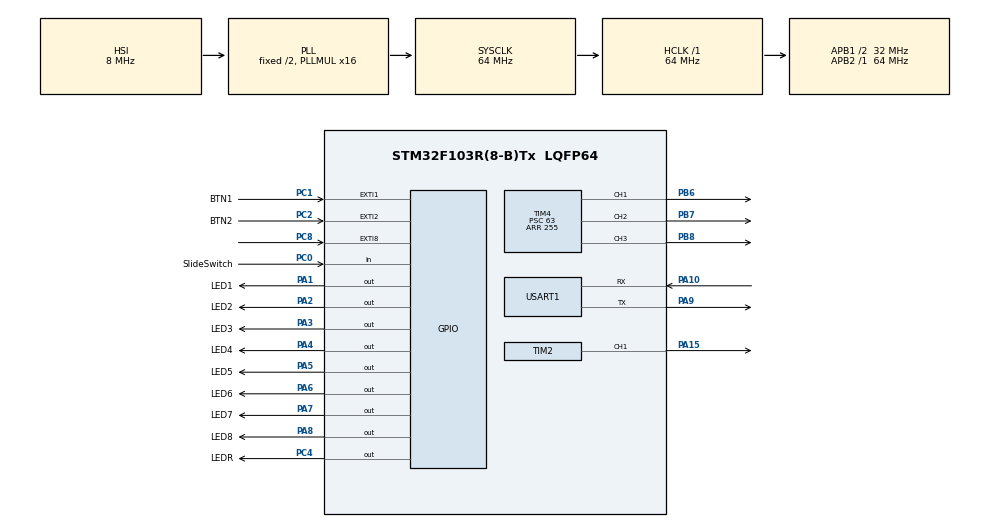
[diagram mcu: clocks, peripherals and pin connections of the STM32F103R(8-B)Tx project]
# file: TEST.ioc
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Mcu.Family=STM32F1
Mcu.Name=STM32F103R(8-B)Tx
Mcu.Package=LQFP64
NVIC.EXTI1_IRQn=true\:0\:0\:false\:false\:true\:true\:true\:true
NVIC.EXTI2_IRQn=true\:0\:0\:false\:false\:true\:true\:true\:true
NVIC.PriorityGroup=NVIC_PRIORITYGROUP_4
PA1.GPIO_Label=LED1
PA1.GPIO_ModeDefaultOutputPP=GPIO_MODE_OUTPUT_PP
PA1.GPIO_PuPd=GPIO_NOPULL
PA1.PinState=GPIO_PIN_SET
PA1.Signal=GPIO_Output
PA10.Mode=Asynchronous
PA10.Signal=USART1_RX
PA13.Mode=Trace_Asynchronous_SW
PA13.Signal=SYS_JTMS-SWDIO
PA14.Mode=Trace_Asynchronous_SW
PA14.Signal=SYS_JTCK-SWCLK
PA15.Signal=S_TIM2_CH1_ETR
PA2.GPIO_Label=LED2
PA2.PinState=GPIO_PIN_SET
PA2.Signal=GPIO_Output
PA3.GPIO_Label=LED3
PA3.PinState=GPIO_PIN_SET
PA3.Signal=GPIO_Output
PA4.GPIO_Label=LED4
PA4.PinState=GPIO_PIN_SET
PA4.Signal=GPIO_Output
PA5.GPIO_Label=LED5
PA5.PinState=GPIO_PIN_SET
PA5.Signal=GPIO_Output
PA6.GPIO_Label=LED6
PA6.PinState=GPIO_PIN_SET
PA6.Signal=GPIO_Output
PA7.GPIO_Label=LED7
PA7.PinState=GPIO_PIN_SET
PA7.Signal=GPIO_Output
PA8.GPIO_Label=LED8
PA8.PinState=GPIO_PIN_SET
PA8.Signal=GPIO_Output
PA9.Mode=Asynchronous
PA9.Signal=USART1_TX
PB3.Mode=Trace_Asynchronous_SW
PB3.Signal=SYS_JTDO-TRACESWO
PB6.Signal=S_TIM4_CH1
PB7.Signal=S_TIM4_CH2
PB8.Signal=S_TIM4_CH3
PC0.GPIO_Label=SlideSwitch
PC0.Signal=GPIO_Input
PC1.GPIO_Label=BTN1
PC1.GPIO_ModeDefaultEXTI=GPIO_MODE_IT_RISING
PC1.GPIO_PuPd=GPIO_PULLUP
PC1.Signal=GPXTI1
PC2.GPIO_Label=BTN2
PC2.GPIO_PuPd=GPIO_PULLUP
PC2.Signal=GPXTI2
PC4.GPIO_Label=LEDR
PC4.Signal=GPIO_Output
PC8.Signal=GPXTI8
ProjectManager.HeapSize=0x200
ProjectManager.StackSize=0x400
ProjectManager.TargetToolchain=STM32CubeIDE
RCC.AHBFreq_Value=64000000
RCC.APB1CLKDivider=RCC_HCLK_DIV2
RCC.APB1Freq_Value=32000000
RCC.APB1TimFreq_Value=64000000
RCC.APB2Freq_Value=64000000
RCC.APB2TimFreq_Value=64000000
RCC.HCLKFreq_Value=64000000
RCC.PLLMUL=RCC_PLL_MUL16
RCC.SYSCLKFreq_VALUE=64000000
RCC.SYSCLKSource=RCC_SYSCLKSOURCE_PLLCLK
RCC.USBFreq_Value=64000000
SH.S_TIM2_CH1_ETR.0=TIM2_CH1,PWM Generation1 CH1
SH.S_TIM4_CH1.0=TIM4_CH1,PWM Generation1 CH1
SH.S_TIM4_CH2.0=TIM4_CH2,PWM Generation2 CH2
SH.S_TIM4_CH3.0=TIM4_CH3,PWM Generation3 CH3
TIM2.Channel-PWM\ Generation1\ CH1=TIM_CHANNEL_1
TIM2.Period=249
TIM2.Prescaler=63
TIM4.Channel-PWM\ Generation1\ CH1=TIM_CHANNEL_1
TIM4.Channel-PWM\ Generation2\ CH2=TIM_CHANNEL_2
TIM4.Channel-PWM\ Generation3\ CH3=TIM_CHANNEL_3
TIM4.Period=255
TIM4.Prescaler=63
USART1.VirtualMode=VM_ASYNC
board=custom

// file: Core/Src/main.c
/* USER CODE BEGIN Header */
/**
  ******************************************************************************
  * @file           : main.c
  * @brief          : Main program body
  ******************************************************************************
  * @attention
  *
  * Copyright (c) 2025 STMicroelectronics.
  * All rights reserved.
  *
  * This software is licensed under terms that can be found in the LICENSE file
  * in the root directory of this software component.
  * If no LICENSE file comes with this software, it is provided AS-IS.
  *
  ******************************************************************************
  */
/* USER CODE END Header */
#include "main.h"

/* USER CODE BEGIN Includes */
#include <stdio.h>
#include <stdbool.h>

/* USER CODE END Includes */

TIM_HandleTypeDef htim2;
TIM_HandleTypeDef htim4;

UART_HandleTypeDef huart1;

void SystemClock_Config(void);
static void MX_GPIO_Init(void);
static void MX_USART1_UART_Init(void);
static void MX_TIM2_Init(void);
static void MX_TIM4_Init(void);

/* USER CODE BEGIN 0 */

uint8_t Ledstatus;
//----------------------------------------------------------------------
// Send printf to uart1
int _write(int fd, char* ptr, int len) {
  HAL_StatusTypeDef hstatus;

  if (fd == 1 || fd == 2) {
    hstatus = HAL_UART_Transmit(&huart1, (uint8_t *) ptr, len, HAL_MAX_DELAY);
    if (hstatus == HAL_OK)
      return len;
    else
      return -1;
  }
  return -1;
}
//----------------------------------------------------------------------
GPIO_TypeDef* ports[] = {LED1_GPIO_Port, LED2_GPIO_Port, LED3_GPIO_Port, LED4_GPIO_Port,
                           LED5_GPIO_Port, LED6_GPIO_Port, LED7_GPIO_Port, LED8_GPIO_Port};
uint16_t pins[] = {LED1_Pin, LED2_Pin, LED3_Pin, LED4_Pin,
                     LED5_Pin, LED6_Pin, LED7_Pin, LED8_Pin};
//----------------------------------------------------------------------
uint8_t Ledstatus;
void prinLedStatus()
{

  for (int i = 0; i < 8; i++)
  {
	if (Ledstatus & (1 << i))
	{
		HAL_GPIO_WritePin(ports[i], pins[i], GPIO_PIN_SET);
	}else
	{
		HAL_GPIO_WritePin(ports[i], pins[i], GPIO_PIN_RESET);
	}
  }

}
//-----------------------------------------------------------------------------
void HandleButtons(uint16_t GPIO_Pin)
{
    if (Ledstatus == 0)
    {
        Ledstatus = 1;
    }
    if (GPIO_Pin == BTN1_Pin)
    {
        Ledstatus <<= 1;
        if (Ledstatus == 0) Ledstatus = 1;
    }
    else if (GPIO_Pin == BTN2_Pin)
    {
        Ledstatus >>= 1;
        if (Ledstatus == 0) Ledstatus = 0x80;
    }
}

//--------------------------------------------------------------------------
void HAL_GPIO_EXTI_Callback(uint16_t PGIO_Pin)
{
	HandleButtons(PGIO_Pin);
}
//--------------------------------------------------------------------------

void handlSlideSwitch()
{
	GPIO_PinState btnState = HAL_GPIO_ReadPin(SlideSwitch_GPIO_Port, SlideSwitch_Pin);
	if (btnState == GPIO_PIN_SET)
	{
		HAL_GPIO_WritePin(LEDR_GPIO_Port,LEDR_Pin, GPIO_PIN_SET);
	}
	else
	{
		HAL_GPIO_WritePin(LEDR_GPIO_Port,LEDR_Pin, GPIO_PIN_RESET);
	}
}

//--------------------------------------------------------------------------
void RGB_SetColor(uint8_t r, uint8_t g, uint8_t b) {
    __HAL_TIM_SET_COMPARE(&htim4, TIM_CHANNEL_1, r); // Красный
    __HAL_TIM_SET_COMPARE(&htim4, TIM_CHANNEL_2, g); // Зелёный
    __HAL_TIM_SET_COMPARE(&htim4, TIM_CHANNEL_3, b); // Синий
}
//---------------------------------------------------------------------------

void Buzzer_SetDuty(uint16_t duty) {
    if (duty > htim2.Init.Period) duty = htim2.Init.Period;
    __HAL_TIM_SET_COMPARE(&htim2, TIM_CHANNEL_1, duty);
}

//--------------------------------------------------------------------------
void handlSlideToBuzzer()
{
	GPIO_PinState btnState = HAL_GPIO_ReadPin(SlideSwitch_GPIO_Port, SlideSwitch_Pin);
	if (btnState == GPIO_PIN_SET)
	{
		 HAL_TIM_PWM_Start(&htim2, TIM_CHANNEL_1);
		 Buzzer_SetDuty( (htim2.Init.Period + 1) / 2 );
	}
	else
	{
		HAL_TIM_PWM_Stop(&htim2, TIM_CHANNEL_1);
	}
}

//-------------------------------------------------------------------------

/* USER CODE END 0 */

int main(void)
{

  /* MCU Configuration--------------------------------------------------------*/

  /* Reset of all peripherals, Initializes the Flash interface and the Systick. */
  HAL_Init();

  /* Configure the system clock */
  SystemClock_Config();

  /* Initialize all configured peripherals */
  MX_GPIO_Init();
  MX_USART1_UART_Init();
  MX_TIM2_Init();
  MX_TIM4_Init();
  /* USER CODE BEGIN 2 */

  HAL_TIM_PWM_Start(&htim4, TIM_CHANNEL_1);
  HAL_TIM_PWM_Start(&htim4, TIM_CHANNEL_2);
  HAL_TIM_PWM_Start(&htim4, TIM_CHANNEL_3);
  /* USER CODE END 2 */

  /* Infinite loop */
  /* USER CODE BEGIN WHILE */

  Ledstatus = 0;
  while (1)
  {

	  prinLedStatus();
	  handlSlideSwitch();

	  handlSlideToBuzzer();
	  RGB_SetColor(255, 0, 0);   // Красный
	  HAL_Delay(500);
	  RGB_SetColor(0, 255, 0);   // Зелёный
	  HAL_Delay(500);
	  RGB_SetColor(0, 0, 255);   // Синий
	  HAL_Delay(500);
	  RGB_SetColor(255, 255, 255); // Белый
	  HAL_Delay(500);
	  RGB_SetColor(128, 0, 255);
	  HAL_Delay(500);

    /* USER CODE END WHILE */

  }
}

void SystemClock_Config(void)
{
  RCC_OscInitTypeDef RCC_OscInitStruct = {0};
  RCC_ClkInitTypeDef RCC_ClkInitStruct = {0};

  /** Initializes the RCC Oscillators according to the specified parameters
  * in the RCC_OscInitTypeDef structure.
  */
  RCC_OscInitStruct.OscillatorType = RCC_OSCILLATORTYPE_HSI;
  RCC_OscInitStruct.HSIState = RCC_HSI_ON;
  RCC_OscInitStruct.HSICalibrationValue = RCC_HSICALIBRATION_DEFAULT;
  RCC_OscInitStruct.PLL.PLLState = RCC_PLL_ON;
  RCC_OscInitStruct.PLL.PLLSource = RCC_PLLSOURCE_HSI_DIV2;
  RCC_OscInitStruct.PLL.PLLMUL = RCC_PLL_MUL16;
  if (HAL_RCC_OscConfig(&RCC_OscInitStruct) != HAL_OK)
  {
    Error_Handler();
  }

  /** Initializes the CPU, AHB and APB buses clocks
  */
  RCC_ClkInitStruct.ClockType = RCC_CLOCKTYPE_HCLK|RCC_CLOCKTYPE_SYSCLK
                              |RCC_CLOCKTYPE_PCLK1|RCC_CLOCKTYPE_PCLK2;
  RCC_ClkInitStruct.SYSCLKSource = RCC_SYSCLKSOURCE_PLLCLK;
  RCC_ClkInitStruct.AHBCLKDivider = RCC_SYSCLK_DIV1;
  RCC_ClkInitStruct.APB1CLKDivider = RCC_HCLK_DIV2;
  RCC_ClkInitStruct.APB2CLKDivider = RCC_HCLK_DIV1;

  if (HAL_RCC_ClockConfig(&RCC_ClkInitStruct, FLASH_LATENCY_2) != HAL_OK)
  {
    Error_Handler();
  }
}

static void MX_TIM2_Init(void)
{

  TIM_MasterConfigTypeDef sMasterConfig = {0};
  TIM_OC_InitTypeDef sConfigOC = {0};

  htim2.Instance = TIM2;
  htim2.Init.Prescaler = 63;
  htim2.Init.CounterMode = TIM_COUNTERMODE_UP;
  htim2.Init.Period = 249;
  htim2.Init.ClockDivision = TIM_CLOCKDIVISION_DIV1;
  htim2.Init.AutoReloadPreload = TIM_AUTORELOAD_PRELOAD_DISABLE;
  if (HAL_TIM_PWM_Init(&htim2) != HAL_OK)
  {
    Error_Handler();
  }
  sMasterConfig.MasterOutputTrigger = TIM_TRGO_RESET;
  sMasterConfig.MasterSlaveMode = TIM_MASTERSLAVEMODE_DISABLE;
  if (HAL_TIMEx_MasterConfigSynchronization(&htim2, &sMasterConfig) != HAL_OK)
  {
    Error_Handler();
  }
  sConfigOC.OCMode = TIM_OCMODE_PWM1;
  sConfigOC.Pulse = 0;
  sConfigOC.OCPolarity = TIM_OCPOLARITY_HIGH;
  sConfigOC.OCFastMode = TIM_OCFAST_DISABLE;
  if (HAL_TIM_PWM_ConfigChannel(&htim2, &sConfigOC, TIM_CHANNEL_1) != HAL_OK)
  {
    Error_Handler();
  }
  HAL_TIM_MspPostInit(&htim2);

}

static void MX_TIM4_Init(void)
{

  TIM_MasterConfigTypeDef sMasterConfig = {0};
  TIM_OC_InitTypeDef sConfigOC = {0};

  htim4.Instance = TIM4;
  htim4.Init.Prescaler = 63;
  htim4.Init.CounterMode = TIM_COUNTERMODE_UP;
  htim4.Init.Period = 255;
  htim4.Init.ClockDivision = TIM_CLOCKDIVISION_DIV1;
  htim4.Init.AutoReloadPreload = TIM_AUTORELOAD_PRELOAD_DISABLE;
  if (HAL_TIM_PWM_Init(&htim4) != HAL_OK)
  {
    Error_Handler();
  }
  sMasterConfig.MasterOutputTrigger = TIM_TRGO_RESET;
  sMasterConfig.MasterSlaveMode = TIM_MASTERSLAVEMODE_DISABLE;
  if (HAL_TIMEx_MasterConfigSynchronization(&htim4, &sMasterConfig) != HAL_OK)
  {
    Error_Handler();
  }
  sConfigOC.OCMode = TIM_OCMODE_PWM1;
  sConfigOC.Pulse = 0;
  sConfigOC.OCPolarity = TIM_OCPOLARITY_HIGH;
  sConfigOC.OCFastMode = TIM_OCFAST_DISABLE;
  if (HAL_TIM_PWM_ConfigChannel(&htim4, &sConfigOC, TIM_CHANNEL_1) != HAL_OK)
  {
    Error_Handler();
  }
  if (HAL_TIM_PWM_ConfigChannel(&htim4, &sConfigOC, TIM_CHANNEL_2) != HAL_OK)
  {
    Error_Handler();
  }
  if (HAL_TIM_PWM_ConfigChannel(&htim4, &sConfigOC, TIM_CHANNEL_3) != HAL_OK)
  {
    Error_Handler();
  }
  HAL_TIM_MspPostInit(&htim4);

}

static void MX_USART1_UART_Init(void)
{

  huart1.Instance = USART1;
  huart1.Init.BaudRate = 115200;
  huart1.Init.WordLength = UART_WORDLENGTH_8B;
  huart1.Init.StopBits = UART_STOPBITS_1;
  huart1.Init.Parity = UART_PARITY_NONE;
  huart1.Init.Mode = UART_MODE_TX_RX;
  huart1.Init.HwFlowCtl = UART_HWCONTROL_NONE;
  huart1.Init.OverSampling = UART_OVERSAMPLING_16;
  if (HAL_UART_Init(&huart1) != HAL_OK)
  {
    Error_Handler();
  }

}

static void MX_GPIO_Init(void)
{
  GPIO_InitTypeDef GPIO_InitStruct = {0};

  /* GPIO Ports Clock Enable */
  __HAL_RCC_GPIOC_CLK_ENABLE();
  __HAL_RCC_GPIOA_CLK_ENABLE();
  __HAL_RCC_GPIOB_CLK_ENABLE();

  /*Configure GPIO pin Output Level */
  HAL_GPIO_WritePin(GPIOA, LED1_Pin|LED2_Pin|LED3_Pin|LED4_Pin
                          |LED5_Pin|LED6_Pin|LED7_Pin|LED8_Pin, GPIO_PIN_SET);

  /*Configure GPIO pin Output Level */
  HAL_GPIO_WritePin(LEDR_GPIO_Port, LEDR_Pin, GPIO_PIN_RESET);

  /*Configure GPIO pin : SlideSwitch_Pin */
  GPIO_InitStruct.Pin = SlideSwitch_Pin;
  GPIO_InitStruct.Mode = GPIO_MODE_INPUT;
  GPIO_InitStruct.Pull = GPIO_NOPULL;
  HAL_GPIO_Init(SlideSwitch_GPIO_Port, &GPIO_InitStruct);

  /*Configure GPIO pins : BTN1_Pin BTN2_Pin */
  GPIO_InitStruct.Pin = BTN1_Pin|BTN2_Pin;
  GPIO_InitStruct.Mode = GPIO_MODE_IT_RISING;
  GPIO_InitStruct.Pull = GPIO_PULLUP;
  HAL_GPIO_Init(GPIOC, &GPIO_InitStruct);

  /*Configure GPIO pins : LED1_Pin LED2_Pin LED3_Pin LED4_Pin
                           LED5_Pin LED6_Pin LED7_Pin LED8_Pin */
  GPIO_InitStruct.Pin = LED1_Pin|LED2_Pin|LED3_Pin|LED4_Pin
                          |LED5_Pin|LED6_Pin|LED7_Pin|LED8_Pin;
  GPIO_InitStruct.Mode = GPIO_MODE_OUTPUT_PP;
  GPIO_InitStruct.Pull = GPIO_NOPULL;
  GPIO_InitStruct.Speed = GPIO_SPEED_FREQ_LOW;
  HAL_GPIO_Init(GPIOA, &GPIO_InitStruct);

  /*Configure GPIO pin : LEDR_Pin */
  GPIO_InitStruct.Pin = LEDR_Pin;
  GPIO_InitStruct.Mode = GPIO_MODE_OUTPUT_PP;
  GPIO_InitStruct.Pull = GPIO_NOPULL;
  GPIO_InitStruct.Speed = GPIO_SPEED_FREQ_LOW;
  HAL_GPIO_Init(LEDR_GPIO_Port, &GPIO_InitStruct);

  /*Configure GPIO pin : PC8 */
  GPIO_InitStruct.Pin = GPIO_PIN_8;
  GPIO_InitStruct.Mode = GPIO_MODE_IT_RISING;
  GPIO_InitStruct.Pull = GPIO_NOPULL;
  HAL_GPIO_Init(GPIOC, &GPIO_InitStruct);

  /* EXTI interrupt init*/
  HAL_NVIC_SetPriority(EXTI1_IRQn, 0, 0);
  HAL_NVIC_EnableIRQ(EXTI1_IRQn);

  HAL_NVIC_SetPriority(EXTI2_IRQn, 0, 0);
  HAL_NVIC_EnableIRQ(EXTI2_IRQn);

}

void Error_Handler(void)
{
  __disable_irq();
  while (1)
  {
  }
}
